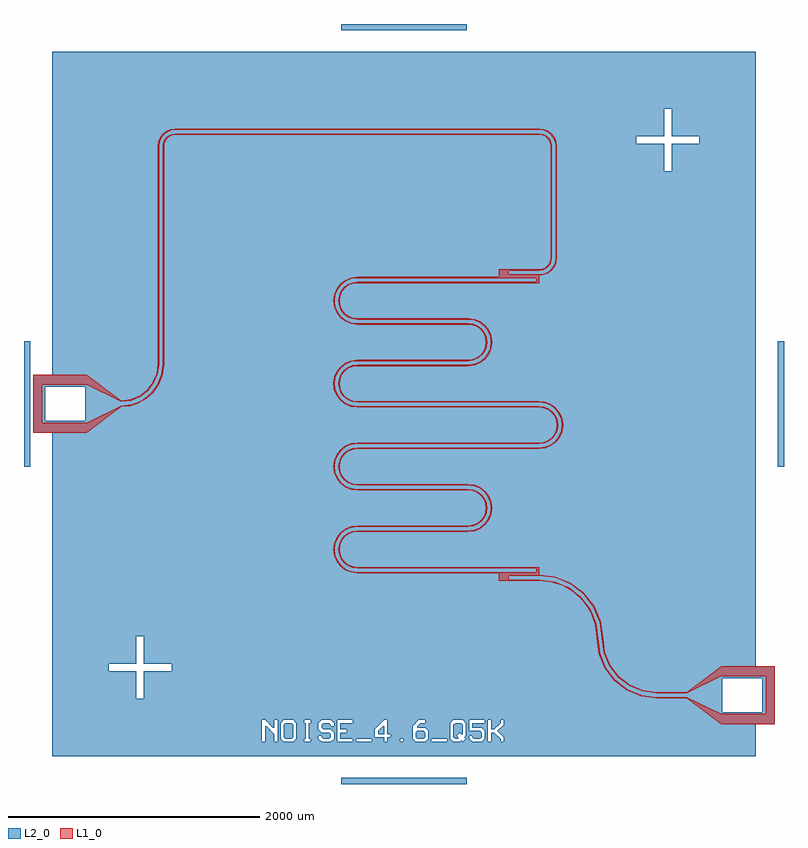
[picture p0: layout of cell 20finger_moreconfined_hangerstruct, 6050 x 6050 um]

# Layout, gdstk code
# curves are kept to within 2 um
import gdstk
lib = gdstk.Library(unit=1e-6, precision=1e-09)
def R(c, l, rs):  # rectangles x0, y0, x1, y1
    for r in rs: c.add(gdstk.rectangle(r[:2], r[2:], *l))
def P(c, l, *ps):  # polygons
    for p in ps: c.add(gdstk.Polygon(p, *l))
L1_0 = (1, 0)
L2_0 = (2, 0)

c_20finger_moreconfined_ha = lib.new_cell('20finger_moreconfined_hangerstruct')
P(c_20finger_moreconfined_ha, L1_0, [(2525,-2547.699),(2250,-2342.699),(2012.5,-2342.699),(1888.914,-2326.429),(1773.75,-2278.726),(1674.857,-2202.842),(1598.973,-2103.949),(1551.27,-1988.785),(1522.617,-1759.477),(1486.138,-1659.477),(1427.538,-1570.615),(1349.989,-1497.699),(1266.28,-1448.464),(1174.066,-1418.006),(1077.5,-1407.699),(752.5,-1407.699),(752.5,-1367.699),(832.5,-1367.699),(832.5,-1397.699),(1077.5,-1397.699),(1198.498,-1413.629),(1311.25,-1460.332),(1408.072,-1534.627),(1482.367,-1631.449),(1529.07,-1744.201),(1560.93,-1986.197),(1607.633,-2098.949),(1681.928,-2195.771),(1778.75,-2270.066),(1891.502,-2316.769),(2012.5,-2332.699),(2250,-2332.699),(2525,-2467.699),(2880,-2467.699),(2880,-2167.699),(2525,-2167.699),(2250,-2302.699),(2012.5,-2302.699),(1899.267,-2287.792),(1793.75,-2244.085),(1703.141,-2174.558),(1633.614,-2083.949),(1589.907,-1978.432),(1558.048,-1736.437),(1508.348,-1616.449),(1429.286,-1513.413),(1326.25,-1434.351),(1206.262,-1384.651),(1077.5,-1367.699),(752.5,-1367.699),(752.5,-1347.699),(-372.5,-1347.699),(-421.676,-1341.225),(-467.5,-1322.244),(-506.85,-1292.049),(-537.045,-1252.699),(-556.026,-1206.875),(-562.5,-1157.699),(-556.026,-1108.523),(-537.045,-1062.699),(-506.85,-1023.349),(-467.5,-993.154),(-421.676,-974.173),(-372.5,-967.699),(512.5,-967.699),(548.735,-962.929),(582.5,-948.943),(611.495,-926.694),(633.744,-897.699),(647.73,-863.934),(652.5,-827.699),(647.73,-791.464),(633.744,-757.699),(611.495,-728.704),(582.5,-706.455),(548.735,-692.469),(512.5,-687.699),(-372.5,-687.699),(-421.676,-681.225),(-467.5,-662.244),(-506.85,-632.049),(-537.045,-592.699),(-556.026,-546.875),(-562.5,-497.698),(-556.026,-448.522),(-537.045,-402.698),(-506.85,-363.348),(-467.5,-333.153),(-421.676,-314.172),(-372.5,-307.698),(1077.5,-307.698),(1113.735,-302.928),(1147.5,-288.942),(1176.495,-266.693),(1198.744,-237.698),(1212.73,-203.933),(1217.5,-167.698),(1212.73,-131.463),(1198.744,-97.698),(1176.495,-68.703),(1147.5,-46.454),(1113.735,-32.468),(1077.5,-27.698),(-372.5,-27.698),(-425.885,-20.044),(-474.97,2.302),(-512.298,33.63),(-540.43,73.423),(-557.515,119.063),(-562.428,167.548),(-554.846,215.687),(-535.268,260.315),(-504.983,298.494),(-465.981,327.714),(-420.83,346.052),(-372.5,352.302),(512.5,352.302),(548.735,357.072),(582.5,371.058),(611.495,393.307),(633.744,422.302),(647.73,456.067),(652.5,492.302),(647.73,528.537),(633.744,562.302),(611.495,591.297),(582.5,613.546),(548.735,627.532),(512.5,632.302),(-372.5,632.302),(-421.676,638.776),(-467.5,657.757),(-506.85,687.952),(-537.045,727.302),(-556.026,773.126),(-562.5,822.302),(-556.026,871.478),(-537.045,917.302),(-506.85,956.652),(-467.5,986.847),(-430.188,1002.302),(-372.5,1002.302),(-419.087,996.169),(-462.5,978.187),(-499.779,949.581),(-528.385,912.302),(-546.367,868.889),(-552.5,822.302),(-546.367,775.715),(-528.385,732.302),(-499.779,695.023),(-462.5,666.417),(-419.087,648.435),(-372.5,642.302),(512.5,642.302),(551.323,637.191),(587.5,622.206),(618.566,598.368),(642.404,567.302),(657.389,531.125),(662.5,492.302),(657.389,453.479),(642.404,417.302),(618.566,386.236),(587.5,362.398),(551.323,347.413),(512.5,342.302),(-372.5,342.302),(-419.087,336.169),(-462.5,318.187),(-499.779,289.581),(-528.385,252.302),(-546.367,208.889),(-552.5,162.302),(-546.367,115.715),(-528.385,72.302),(-499.779,35.023),(-462.5,6.417),(-419.087,-11.565),(-372.5,-17.698),(1077.5,-17.698),(1116.323,-22.809),(1152.5,-37.794),(1183.566,-61.632),(1207.404,-92.698),(1222.389,-128.875),(1227.5,-167.698),(1222.389,-206.521),(1207.404,-242.698),(1183.566,-273.764),(1152.5,-297.602),(1116.323,-312.587),(1077.5,-317.698),(-372.5,-317.698),(-419.087,-323.831),(-462.5,-341.813),(-499.779,-370.419),(-528.385,-407.698),(-546.367,-451.111),(-552.5,-497.698),(-546.367,-544.286),(-528.385,-587.699),(-499.779,-624.978),(-462.5,-653.584),(-419.087,-671.566),(-372.5,-677.699),(512.5,-677.699),(551.323,-682.81),(587.5,-697.795),(618.566,-721.633),(642.404,-752.699),(657.389,-788.876),(662.5,-827.699),(657.389,-866.522),(642.404,-902.699),(618.566,-933.765),(587.5,-957.603),(551.323,-972.588),(512.5,-977.699),(-372.5,-977.699),(-419.087,-983.832),(-462.5,-1001.814),(-499.779,-1030.42),(-528.385,-1067.699),(-546.367,-1111.112),(-552.5,-1157.699),(-546.367,-1204.286),(-528.385,-1247.699),(-499.779,-1284.978),(-462.5,-1313.584),(-419.087,-1331.566),(-372.5,-1337.699),(1052.5,-1337.699),(1052.5,-1307.699),(-372.5,-1307.699),(-411.323,-1302.588),(-447.5,-1287.603),(-478.566,-1263.765),(-502.404,-1232.699),(-517.389,-1196.522),(-522.5,-1157.699),(-517.389,-1118.876),(-502.404,-1082.699),(-478.566,-1051.633),(-447.5,-1027.795),(-411.323,-1012.81),(-372.5,-1007.699),(512.5,-1007.699),(559.087,-1001.566),(602.5,-983.584),(639.779,-954.978),(668.385,-917.699),(686.367,-874.286),(692.5,-827.699),(686.367,-781.112),(668.385,-737.699),(639.779,-700.42),(602.5,-671.814),(559.087,-653.832),(512.5,-647.699),(-372.5,-647.699),(-411.323,-642.588),(-447.5,-627.603),(-478.566,-603.765),(-502.404,-572.699),(-517.389,-536.522),(-522.5,-497.698),(-517.389,-458.875),(-502.404,-422.698),(-478.566,-391.632),(-447.5,-367.794),(-411.323,-352.809),(-372.5,-347.698),(1077.5,-347.698),(1124.087,-341.565),(1167.5,-323.583),(1204.779,-294.977),(1233.385,-257.698),(1251.367,-214.285),(1257.5,-167.698),(1251.367,-121.111),(1233.385,-77.698),(1204.779,-40.419),(1167.5,-11.813),(1124.087,6.169),(1077.5,12.302),(-372.5,12.302),(-411.323,17.413),(-447.5,32.398),(-478.566,56.236),(-502.404,87.302),(-517.389,123.479),(-522.5,162.302),(-517.389,201.125),(-502.404,237.302),(-478.566,268.368),(-447.5,292.206),(-411.323,307.191),(-372.5,312.302),(512.5,312.302),(559.087,318.435),(602.5,336.417),(639.779,365.023),(668.385,402.302),(686.367,445.715),(692.5,492.302),(686.367,538.889),(668.385,582.302),(639.779,619.581),(602.5,648.187),(559.087,666.169),(512.5,672.302),(-372.5,672.302),(-411.323,677.413),(-447.5,692.398),(-478.566,716.236),(-502.404,747.302),(-517.389,783.479),(-522.5,822.302),(-517.389,861.125),(-502.404,897.302),(-478.566,928.368),(-447.5,952.206),(-411.323,967.191),(-372.5,972.302),(1052.5,972.302),(1052.5,1002.302),(-430.188,1002.302),(-421.676,1005.828),(-372.5,1012.302),(752.5,1012.302),(752.5,1072.302),(1077.5,1072.302),(1100.794,1075.369),(1122.5,1084.36),(1141.14,1098.662),(1155.442,1117.302),(1164.433,1139.008),(1167.5,1162.302),(1167.5,2052.302),(1164.433,2075.596),(1155.442,2097.302),(1141.14,2115.942),(1122.5,2130.244),(1100.794,2139.235),(1077.5,2142.302),(-1820,2142.302),(-1843.294,2139.235),(-1865,2130.244),(-1883.64,2115.942),(-1897.942,2097.302),(-1906.933,2075.596),(-1910,2052.302),(-1910,317.302),(-1919.503,237.479),(-1947.48,162.119),(-1992.369,95.432),(-2051.658,41.149),(-2122.035,2.302),(-2184.808,-16.389),(-2250,-22.698),(-2525,-227.698),(-2950,-227.698),(-2950,232.302),(-2525,232.302),(-2250,27.302),(-2174.942,37.184),(-2105,66.155),(-2044.939,112.241),(-1998.853,172.302),(-1969.882,242.244),(-1960,317.302),(-1960,2052.302),(-1955.23,2088.537),(-1941.244,2122.302),(-1918.995,2151.297),(-1890,2173.546),(-1868.861,2182.302),(-1820,2182.302),(-1853.646,2177.872),(-1885,2164.885),(-1911.924,2144.226),(-1932.583,2117.302),(-1945.57,2085.948),(-1950,2052.302),(-1950,317.302),(-1960.222,239.656),(-1990.192,167.302),(-2037.868,105.17),(-2100,57.494),(-2172.354,27.524),(-2250,17.302),(-2525,152.302),(-2880,152.302),(-2880,-147.698),(-2525,-147.698),(-2250,-12.698),(-2164.59,-1.454),(-2085,31.514),(-2016.655,83.957),(-1964.212,152.302),(-1931.244,231.892),(-1920,317.302),(-1920,2052.302),(-1916.593,2078.184),(-1906.603,2102.302),(-1890.711,2123.013),(-1870,2138.905),(-1845.882,2148.895),(-1820,2152.302),(1077.5,2152.302),(1103.382,2148.895),(1127.5,2138.905),(1148.211,2123.013),(1164.103,2102.302),(1174.093,2078.184),(1177.5,2052.302),(1177.5,1162.302),(1174.093,1136.42),(1164.103,1112.302),(1148.211,1091.591),(1127.5,1075.699),(1103.382,1065.709),(1077.5,1062.302),(832.5,1062.302),(832.5,1032.302),(1077.5,1032.302),(1111.146,1036.732),(1142.5,1049.719),(1169.424,1070.378),(1190.083,1097.302),(1203.07,1128.656),(1207.5,1162.302),(1207.5,2052.302),(1203.07,2085.948),(1190.083,2117.302),(1169.424,2144.226),(1142.5,2164.885),(1111.146,2177.872),(1077.5,2182.302),(-1868.861,2182.302),(-1856.235,2187.532),(-1820,2192.302),(1077.5,2192.302),(1113.735,2187.532),(1147.5,2173.546),(1176.495,2151.297),(1198.744,2122.302),(1212.73,2088.537),(1217.5,2052.302),(1217.5,1162.302),(1212.73,1126.067),(1198.744,1092.302),(1176.495,1063.307),(1147.5,1041.058),(1113.735,1027.072),(1077.5,1022.302),(1077.5,962.302),(-372.5,962.302),(-408.735,957.532),(-442.5,943.546),(-471.495,921.297),(-493.744,892.302),(-507.73,858.537),(-512.5,822.302),(-507.73,786.067),(-493.744,752.302),(-471.495,723.307),(-442.5,701.058),(-408.735,687.072),(-372.5,682.302),(512.5,682.302),(561.676,675.828),(607.5,656.847),(646.85,626.652),(677.045,587.302),(696.026,541.478),(702.5,492.302),(696.026,443.126),(677.045,397.302),(646.85,357.952),(607.5,327.757),(561.676,308.776),(512.5,302.302),(-372.5,302.302),(-408.735,297.532),(-442.5,283.546),(-471.495,261.297),(-493.744,232.302),(-507.73,198.537),(-512.5,162.302),(-507.73,126.067),(-493.744,92.302),(-471.495,63.307),(-442.5,41.058),(-408.735,27.072),(-372.5,22.302),(1077.5,22.302),(1121.089,17.234),(1162.353,2.302),(1204.118,-26.037),(1236.949,-64.373),(1258.527,-110),(1267.332,-159.698),(1267.332,-175.698),(1259.187,-223.283),(1239.313,-267.28),(1208.991,-304.848),(1170.181,-333.56),(1125.386,-351.565),(1077.5,-357.698),(-372.5,-357.698),(-408.735,-362.468),(-442.5,-376.454),(-471.495,-398.703),(-493.744,-427.698),(-507.73,-461.463),(-512.5,-497.698),(-507.73,-533.934),(-493.744,-567.699),(-471.495,-596.694),(-442.5,-618.943),(-408.735,-632.929),(-372.5,-637.699),(512.5,-637.699),(561.676,-644.173),(607.5,-663.154),(646.85,-693.349),(677.045,-732.699),(696.026,-778.523),(702.5,-827.699),(696.026,-876.875),(677.045,-922.699),(646.85,-962.049),(607.5,-992.244),(561.676,-1011.225),(512.5,-1017.699),(-372.5,-1017.699),(-408.735,-1022.469),(-442.5,-1036.455),(-471.495,-1058.704),(-493.744,-1087.699),(-507.73,-1121.464),(-512.5,-1157.699),(-507.73,-1193.934),(-493.744,-1227.699),(-471.495,-1256.694),(-442.5,-1278.943),(-408.735,-1292.929),(-372.5,-1297.699),(1077.5,-1297.699),(1077.5,-1357.699),(1204.862,-1373.94),(1324.072,-1421.624),(1427.5,-1497.699),(1512.825,-1604.338),(1566.623,-1729.868),(1599.567,-1975.844),(1642.274,-2078.949),(1710.212,-2167.487),(1798.75,-2235.425),(1901.855,-2278.132),(2012.5,-2292.699),(2250,-2292.699),(2525,-2087.699),(2950,-2087.699),(2950,-2547.699)])
R(c_20finger_moreconfined_ha, L2_0, [(-500,-3025,500,-2975), (-3025,-500,-2975,500), (2975,-500,3025,500), (-500,2975,500,3025)])
P(c_20finger_moreconfined_ha, L2_0, [(106.009,-2665.472),(93.509,-2652.972),(93.509,-2615.472),(106.009,-2602.972),(156.009,-2602.972),(168.509,-2615.472),(168.509,-2652.972),(156.009,-2665.472)],
  [(-206.491,-2627.972),(-206.491,-2602.972),(-168.991,-2565.472),(-156.491,-2565.472),(-156.491,-2627.972)],
  [(-943.991,-2665.472),(-956.491,-2652.972),(-956.491,-2552.972),(-943.991,-2540.472),(-893.991,-2540.472),(-881.491,-2552.972),(-881.491,-2652.972),(-893.991,-2665.472)],
  [(406.009,-2665.472),(393.509,-2652.972),(393.509,-2552.972),(406.009,-2540.472),(456.009,-2540.472),(468.509,-2552.972),(468.509,-2627.972),(456.009,-2627.972),(443.509,-2615.472),(418.509,-2640.472),(431.009,-2652.972),(431.009,-2665.472)],
  [(-2798.631,-2802.833),(-2798.631,-2515.472),(-1031.491,-2515.472),(-1031.491,-2577.972),(-1043.991,-2577.972),(-1106.491,-2515.472),(-1131.491,-2515.472),(-1131.491,-2690.472),(-1106.491,-2690.472),(-1106.491,-2565.472),(-1093.991,-2565.472),(-1031.491,-2627.972),(-1031.491,-2690.472),(-1006.491,-2690.472),(-1006.491,-2515.472),(-956.491,-2515.472),(-981.491,-2540.472),(-981.491,-2665.472),(-956.491,-2690.472),(-881.491,-2690.472),(-856.491,-2665.472),(-856.491,-2540.472),(-881.491,-2515.472),(-793.991,-2515.472),(-793.991,-2540.472),(-781.491,-2540.472),(-781.491,-2665.472),(-793.991,-2665.472),(-793.991,-2690.472),(-743.991,-2690.472),(-743.991,-2665.472),(-756.491,-2665.472),(-756.491,-2540.472),(-743.991,-2540.472),(-743.991,-2515.472),(-656.491,-2515.472),(-681.491,-2540.472),(-681.491,-2590.472),(-656.491,-2615.472),(-593.991,-2615.472),(-581.491,-2627.972),(-581.491,-2652.972),(-593.991,-2665.472),(-643.991,-2665.472),(-656.491,-2652.972),(-656.491,-2640.472),(-681.491,-2640.472),(-681.491,-2665.472),(-656.491,-2690.472),(-581.491,-2690.472),(-556.491,-2665.472),(-556.491,-2615.472),(-581.491,-2590.472),(-643.991,-2590.472),(-656.491,-2577.972),(-656.491,-2552.972),(-643.991,-2540.472),(-593.991,-2540.472),(-581.491,-2552.972),(-581.491,-2565.472),(-556.491,-2565.472),(-556.491,-2540.472),(-581.491,-2515.472),(-531.491,-2515.472),(-531.491,-2690.472),(-406.491,-2690.472),(-406.491,-2665.472),(-381.491,-2665.472),(-381.491,-2690.472),(-256.491,-2690.472),(-256.491,-2665.472),(-506.491,-2665.472),(-506.491,-2615.472),(-456.491,-2615.472),(-456.491,-2590.472),(-506.491,-2590.472),(-506.491,-2540.472),(-406.491,-2540.472),(-406.491,-2515.472),(-156.491,-2515.472),(-231.491,-2590.472),(-231.491,-2652.972),(-156.491,-2652.972),(-156.491,-2690.472),(-131.491,-2690.472),(-131.491,-2665.472),(-31.491,-2665.472),(-31.491,-2690.472),(-6.491,-2690.472),(-6.491,-2665.472),(-131.491,-2665.472),(-131.491,-2652.972),(-106.491,-2652.972),(-106.491,-2627.972),(-131.491,-2627.972),(-131.491,-2515.472),(118.509,-2515.472),(68.509,-2565.472),(68.509,-2665.472),(93.509,-2690.472),(168.509,-2690.472),(193.509,-2665.472),(218.509,-2665.472),(218.509,-2690.472),(343.509,-2690.472),(343.509,-2665.472),(193.509,-2665.472),(193.509,-2602.972),(168.509,-2577.972),(106.009,-2577.972),(106.009,-2565.472),(131.009,-2540.472),(168.509,-2540.472),(168.509,-2515.472),(393.509,-2515.472),(368.509,-2540.472),(368.509,-2665.472),(393.509,-2690.472),(443.509,-2690.472),(456.009,-2677.972),(468.509,-2690.472),(493.509,-2665.472),(481.009,-2652.972),(493.509,-2640.472),(493.509,-2540.472),(468.509,-2515.472),(518.509,-2515.472),(518.509,-2602.972),(606.009,-2602.972),(618.509,-2615.472),(618.509,-2652.972),(606.009,-2665.472),(556.009,-2665.472),(543.509,-2652.972),(543.509,-2640.472),(518.509,-2640.472),(518.509,-2665.472),(543.509,-2690.472),(618.509,-2690.472),(643.509,-2665.472),(643.509,-2602.972),(618.509,-2577.972),(543.509,-2577.972),(543.509,-2540.472),(643.509,-2540.472),(643.509,-2515.472),(768.509,-2515.472),(768.509,-2540.472),(718.509,-2590.472),(693.509,-2590.472),(693.509,-2515.472),(668.509,-2515.472),(668.509,-2690.472),(693.509,-2690.472),(693.509,-2615.472),(718.509,-2615.472),(768.509,-2665.472),(768.509,-2690.472),(793.509,-2690.472),(793.509,-2652.972),(743.509,-2602.972),(793.509,-2552.972),(793.509,-2515.472),(-2798.631,-2515.472),(-2798.631,-1847.699),(-2130,-1847.699),(-2130,-2067.699),(-2350,-2067.699),(-2350,-2127.699),(-2130,-2127.699),(-2130,-2347.699),(-2070,-2347.699),(-2070,-2183.718),(2532.926,-2183.718),(2532.926,-2452.966),(2851.322,-2452.966),(2851.322,-2183.718),(-2070,-2183.718),(-2070,-2127.699),(-1850,-2127.699),(-1850,-2067.699),(-2070,-2067.699),(-2070,-1847.699),(-2798.631,-1847.699),(-2798.631,-227.698),(-2950,-227.698),(-2950,135.617),(-2856.283,135.617),(-2856.283,-133.631),(-2537.887,-133.631),(-2537.887,135.617),(-2950,135.617),(-2950,232.302),(-2798.631,232.302),(-2798.631,2352.302),(2070,2352.302),(2070,2132.302),(1850,2132.302),(1850,2072.302),(2070,2072.302),(2070,1852.302),(2130,1852.302),(2130,2072.302),(2350,2072.302),(2350,2132.302),(2130,2132.302),(2130,2352.302),(-2798.631,2352.302),(-2798.631,2802.833),(2801.366,2802.833),(2801.366,-2087.699),(2950,-2087.699),(2950,-2547.699),(2801.366,-2547.699),(2801.366,-2802.833)])

lib.write_gds('20finger_moreconfined_hangerstruct.gds')
